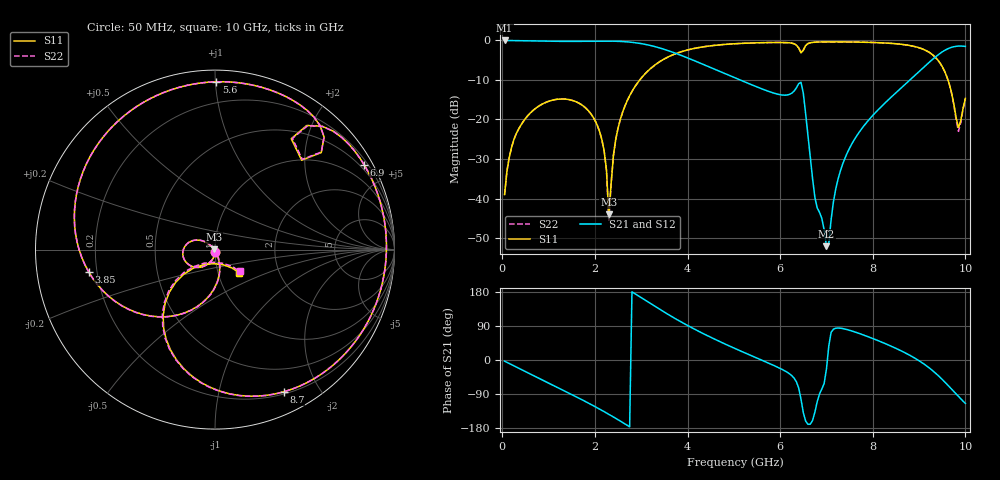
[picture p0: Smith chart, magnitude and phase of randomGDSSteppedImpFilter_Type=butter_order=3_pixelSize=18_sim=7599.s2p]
! freq	dB(S11)	phase(S11)	dB(S12)	phase(S12)
!  dB(S21)	phase(S21)	dB(S22)	phase(S22)
!S-par simulation data
#  GHz  S  DB  R 50
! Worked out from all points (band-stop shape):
!   200 points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, 50 MHz to 10 GHz, reference 50 ohm
!   highest |S21| = -0.02 dB at 50 MHz (marker M1); lowest = -52.0 dB at 7 GHz (marker M2)
!   |S21| within 3 dB of the highest: start of sweep to 3.685 GHz; 9.487 GHz to end of sweep
!   lowest |S11| = -44.0 dB at 2.3 GHz (marker M3), VSWR 1.01, Z = 49.4 + j0.0631 ohm
!   |S11| at or under -10 dB: start of sweep to 2.969 GHz; 9.623 GHz to end of sweep
!   |S22| runs from -45.7 to -0.4 dB; largest |S21 - S12| = 0
!   S11 on the Smith chart (normalised r, x): 50 MHz: 1.00, -0.02; 3.85 GHz: 0.17, -0.09; 5.6 GHz: 0.07, +1.01; 6.9 GHz: 0.34, +3.75; 8.7 GHz: 0.22, -1.57; 10 GHz: 1.26, -0.33
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0.05  -39.00 -85.3  -0.02 -3.1  -0.02 -3.1  -39.00 -85.4
0.2  -27.07 -100.2  -0.04 -12.3  -0.04 -12.3  -27.07 -100.2
0.55  -19.05 -123.8  -0.11 -33.6  -0.11 -33.6  -19.05 -123.8
1.75  -16.60 163.5  -0.23 -106.7  -0.23 -106.7  -16.61 163.1
2.15  -25.08 140.1  -0.18 -132.9  -0.18 -132.9  -25.09 138.6
2.3  -44.01 174.2  -0.19 -143.3  -0.19 -143.3  -45.70 162.2
2.4  -29.08 -68.9  -0.20 -150.4  -0.20 -150.4  -29.11 -66.0
2.55  -19.93 -75.1  -0.26 -161.3  -0.26 -161.3  -19.93 -74.0
3.4  -5.38 -137.8  -1.91 133.7  -1.91 133.7  -5.38 -137.6
3.85  -2.93 -169.9  -3.74 101.2  -3.74 101.2  -2.93 -169.8
5.05  -0.83 118.6  -9.59 29.0  -9.59 29.0  -0.83 118.6
5.6  -0.58 89.5  -12.24 -0.3  -12.24 -0.3  -0.58 89.5
6.45  -3.18 45.9  -10.59 -103.2  -10.59 -103.2  -3.11 45.9
6.7  -0.51 41.5  -34.94 -159.4  -34.94 -159.4  -0.51 41.3
6.9  -0.39 29.7  -45.04 -76.5  -45.04 -76.5  -0.39 29.5
7  -0.38 24.3  -52.04 -23.6  -52.04 -23.6  -0.38 24.2
7.4  -0.39 4.1  -29.77 81.7  -29.77 81.7  -0.39 3.9
8.35  -0.72 -44.0  -14.87 39.0  -14.87 39.0  -0.72 -44.3
8.7  -1.11 -64.1  -11.10 18.9  -11.10 18.9  -1.11 -64.4
9.45  -5.68 -123.4  -3.31 -45.3  -3.31 -45.3  -5.70 -124.2
9.85  -22.10 -94.8  -1.44 -96.3  -1.44 -96.3  -23.00 -94.6
10  -14.65 -43.6  -1.53 -114.6  -1.53 -114.6  -14.75 -41.3
